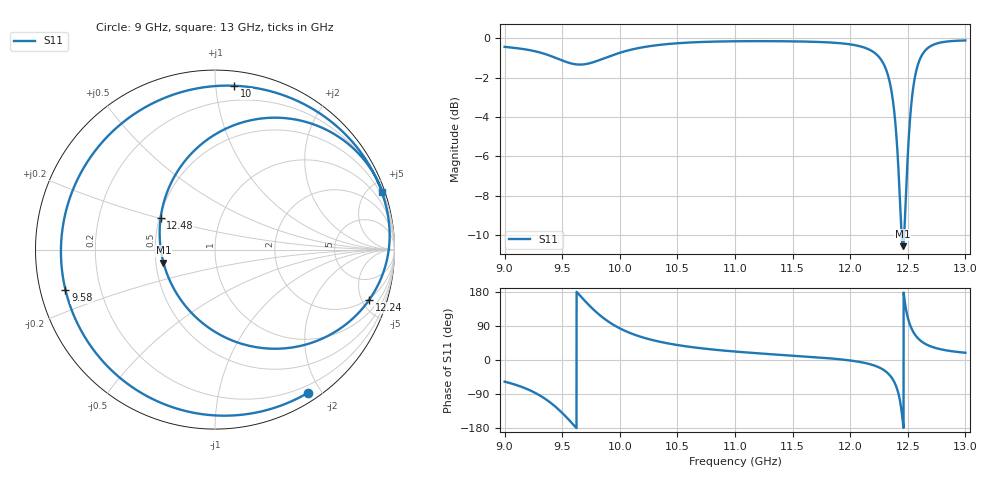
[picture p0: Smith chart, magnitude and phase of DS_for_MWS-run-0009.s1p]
! TOUCHSTONE file generated by CST DESIGN STUDIO
! Date and time: Tue Feb  4 13:09:11 2025
! Project name: C:\Work\MatlabApps\UnitCellOptimizationMatlab\CST\unitcell.cst
! Tree item: Tasks\Sweep1\SPara1\S-Parameters
! Header version: 2024
! Port assignment regex: !\s*Touchstone port\s*([0-9]+)\s*=\s*(CST MWS port|CST DES external port|CST DES block port)\s*(.+)\s* \(\"(.*)\"\)(\s*mode\s*([0-9]+))?.*
! Touchstone port assignment:
! Touchstone port 1 = CST DES external port 1 ("")
# GHz S MA R 50
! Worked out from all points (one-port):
!   4001 points, 9 GHz to 13 GHz, reference 50 ohm
!   lowest |S11| = -10.6 dB at 12.46 GHz (marker M1), VSWR 1.84, Z = 27.4 - j4.33 ohm
!   |S11| at or under -10 dB: 12.44662 GHz to 12.46828 GHz (21.67 MHz wide, 0.174 % of centre)
!   S11 on the Smith chart (normalised r, x): 9 GHz: 0.11, -1.83; 9.58 GHz: 0.07, -0.13; 10 GHz: 0.10, +1.12; 12.24 GHz: 1.87, -5.71; 12.48 GHz: 0.51, +0.21; 13 GHz: 0.23, +5.93
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9  0.9513 -57.1
9.166  0.9387 -73.0
9.317  0.9186 -95.7
9.413  0.8989 -116.1
9.5  0.8784 -139.7
9.58  0.8629 -165.0
9.676  0.858 162.8
9.792  0.8739 127.4
9.886  0.8948 104.4
10  0.9189 83.5
10.001  0.9191 83.4
10.218  0.9509 57.9
10.5  0.9716 39.5
11  0.9829 22.3
11.5  0.9824 11.6
12  0.9652 -1.3
12.239  0.9037 -18.0
12.326  0.8091 -34.7
12.39  0.6183 -62.9
12.424  0.434 -95.2
12.458  0.2962 -165.9
12.476  0.3514 149.5
12.5  0.5051 111.6
12.555  0.7762 70.3
12.602  0.8803 53.3
12.659  0.9362 41.4
12.784  0.9756 28.4
13  0.9875 19.1
